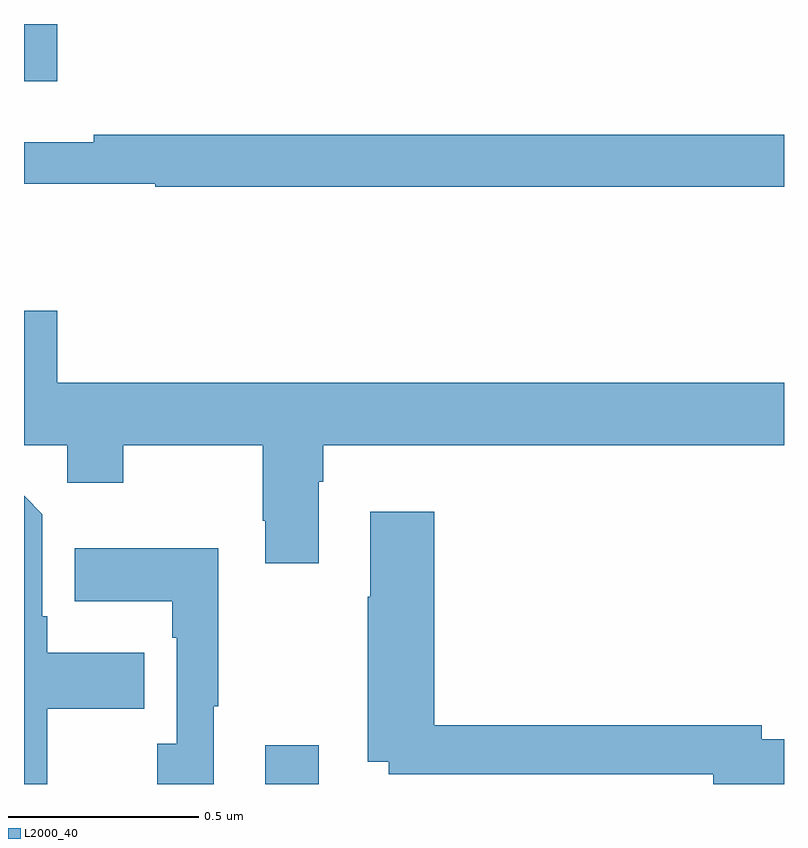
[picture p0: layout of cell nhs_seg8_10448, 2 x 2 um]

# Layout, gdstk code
import gdstk
lib = gdstk.Library(unit=1e-6, precision=1e-09)
def R(c, l, rs):  # rectangles x0, y0, x1, y1
    for r in rs: c.add(gdstk.rectangle(r[:2], r[2:], *l))
def P(c, l, *ps):  # polygons
    for p in ps: c.add(gdstk.Polygon(p, *l))
L2000_40 = (2000, 40)

nhs_seg8_10448 = lib.new_cell('nhs_seg8_10448')
R(nhs_seg8_10448, L2000_40, [(249.635,1156.9,249.775,1157.002), (249,1158.75,249.088,1158.9)])
P(nhs_seg8_10448, L2000_40, [(251,1158.608),(249.184,1158.608),(249.184,1158.589),(249,1158.589),(249,1158.48),(249.345,1158.48),(249.345,1158.472),(251,1158.472)],
  [(249.775,1157.696),(249.788,1157.696),(249.788,1157.792),(251,1157.792),(251,1157.956),(249.088,1157.956),(249.088,1158.145),(249,1158.145),(249,1157.792),(249.114,1157.792),(249.114,1157.693),(249.261,1157.693),(249.261,1157.792),(249.628,1157.792),(249.628,1157.593),(249.635,1157.593),(249.635,1157.481),(249.775,1157.481)],
  [(249.061,1157.098),(249.317,1157.098),(249.317,1157.245),(249.061,1157.245),(249.061,1157.341),(249.048,1157.341),(249.048,1157.61),(249,1157.658),(249,1156.9),(249.061,1156.9)],
  [(251,1157.018),(250.942,1157.018),(250.942,1157.054),(250.079,1157.054),(250.079,1157.617),(249.911,1157.617),(249.911,1157.393),(249.904,1157.393),(249.904,1156.958),(249.96,1156.958),(249.96,1156.926),(250.814,1156.926),(250.814,1156.9),(251,1156.9)],
  [(249.499,1157.105),(249.511,1157.105),(249.511,1157.521),(249.133,1157.521),(249.133,1157.381),(249.39,1157.381),(249.39,1157.285),(249.402,1157.285),(249.402,1157.006),(249.351,1157.006),(249.351,1156.9),(249.499,1156.9)])

lib.write_gds('nhs_seg8_10448.gds')
